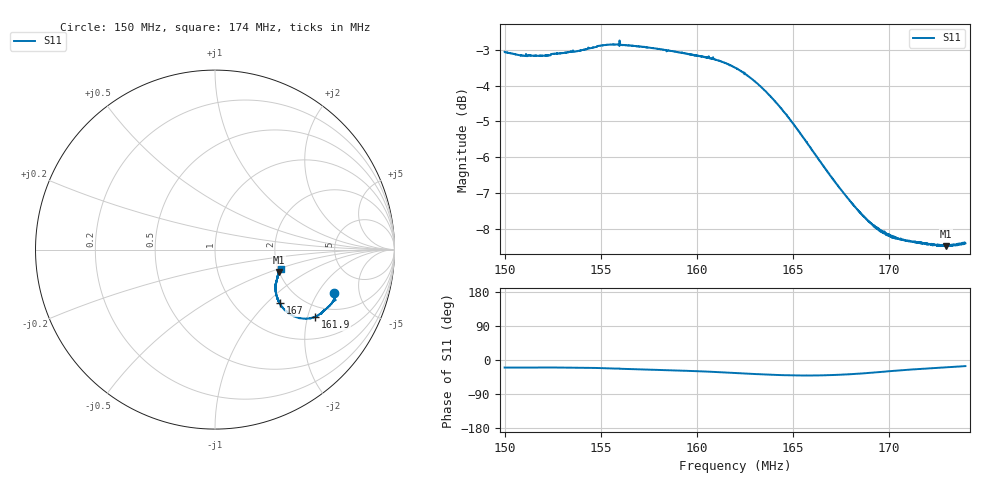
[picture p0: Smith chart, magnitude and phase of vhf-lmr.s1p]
! Calibrated averaged scanner-service zoom
# Hz S RI R 50
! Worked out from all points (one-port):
!   2001 points, 150 MHz to 174 MHz, reference 50 ohm
!   lowest |S11| = -8.5 dB at 173 MHz (marker M1), VSWR 2.21, Z = 99.5 - j28.9 ohm
!   |S11| at or under -10 dB: nowhere
!   S11 on the Smith chart (normalised r, x): 150 MHz: 2.94, -2.78; 161.9 MHz: 1.63, -2.22; 167 MHz: 1.57, -1.21; 174 MHz: 2.06, -0.51
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1.5e8  0.6613 -0.2394
1.5108e8  0.6524 -0.2381
1.5228e8  0.6547 -0.2357
1.52532e8  0.6572 -0.2372
1.53e8  0.6584 -0.2385
1.53888e8  0.6621 -0.2443
1.54512e8  0.666 -0.2525
1.55088e8  0.6686 -0.263
1.56e8  0.6595 -0.2849
1.57776e8  0.6406 -0.3103
1.59e8  0.622 -0.328
1.6074e8  0.5899 -0.3554
1.61352e8  0.5744 -0.3658
1.6188e8  0.5567 -0.3747
1.62e8  0.5529 -0.3762
1.62624e8  0.5282 -0.3828
1.635e8  0.4903 -0.3842
1.64292e8  0.455 -0.3773
1.65e8  0.4249 -0.3641
1.66008e8  0.3879 -0.3355
1.67028e8  0.3618 -0.2996
1.68e8  0.3451 -0.2653
1.68864e8  0.3386 -0.2324
1.69548e8  0.337 -0.2084
1.7022e8  0.3393 -0.1864
1.71e8  0.3445 -0.1665
1.7298e8  0.3553 -0.1248
1.74e8  0.365 -0.1056
